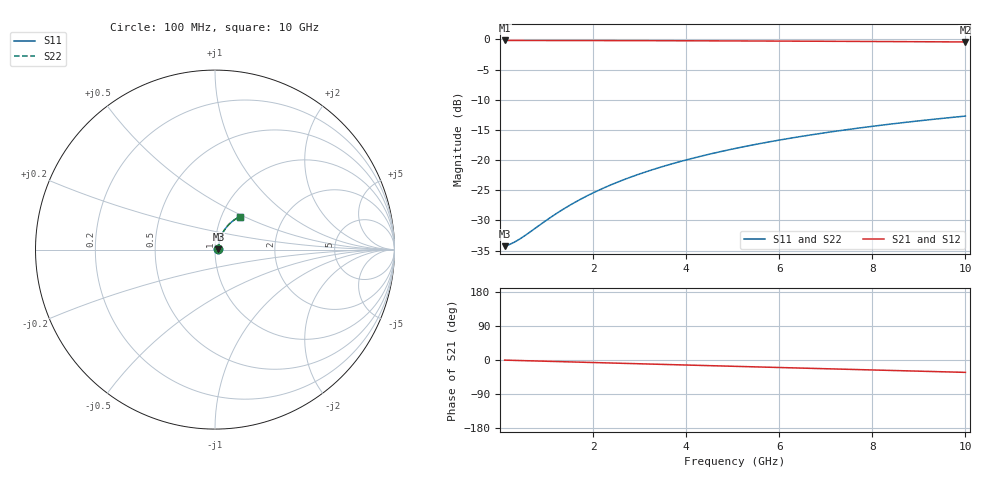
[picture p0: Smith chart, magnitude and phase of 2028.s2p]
# Hz S RI R 50.00
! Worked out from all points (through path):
!   100 points, 100 MHz to 10 GHz, reference 50 ohm
!   highest |S21| = -0.17 dB at 100 MHz (marker M1); lowest = -0.4 dB at 10 GHz (marker M2)
!   group delay of S21, straight-line fit = 9.08 ps
!   lowest |S11| = -34.3 dB at 100 MHz (marker M3), VSWR 1.04, Z = 52 + j0.247 ohm
!   |S11| at or under -10 dB: start of sweep to end of sweep
!   |S22| runs from -34.3 to -12.7 dB; largest |S21 - S12| = 0
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1e8  0.0192 0.00238  0.9808 -0.00569  0.9808 -0.00569  0.0192 0.00238
2e8  0.0193 0.00475  0.9806 -0.0114  0.9806 -0.0114  0.0193 0.00475
3e8  0.0195 0.00712  0.9804 -0.0171  0.9804 -0.0171  0.0195 0.00712
4e8  0.0197 0.00949  0.9802 -0.0228  0.9802 -0.0228  0.0197 0.00949
6e8  0.0201 0.0142  0.9797 -0.0341  0.9797 -0.0341  0.0201 0.0142
1e9  0.0211 0.0236  0.9783 -0.0568  0.9783 -0.0568  0.0211 0.0236
1.2e9  0.0218 0.0283  0.9774 -0.0681  0.9774 -0.0681  0.0218 0.0283
1.5e9  0.023 0.0353  0.9757 -0.0851  0.9757 -0.0851  0.023 0.0353
1.8e9  0.0244 0.0423  0.9737 -0.102  0.9737 -0.102  0.0244 0.0423
2.1e9  0.0261 0.0492  0.9714 -0.1188  0.9714 -0.1188  0.0261 0.0492
2.5e9  0.0287 0.0583  0.9677 -0.1411  0.9677 -0.1411  0.0287 0.0583
2.9e9  0.0317 0.0672  0.9635 -0.1633  0.9635 -0.1633  0.0317 0.0672
3.4e9  0.036 0.0782  0.9574 -0.1909  0.9574 -0.1909  0.036 0.0782
3.8e9  0.0399 0.0867  0.9519 -0.2127  0.9519 -0.2127  0.0399 0.0867
4.2e9  0.0442 0.0951  0.9458 -0.2342  0.9458 -0.2342  0.0442 0.0951
4.6e9  0.0489 0.1032  0.9392 -0.2556  0.9392 -0.2556  0.0489 0.1032
5.1e9  0.0552 0.113  0.9302 -0.282  0.9302 -0.282  0.0552 0.113
5.9e9  0.0664 0.1279  0.914 -0.3232  0.914 -0.3232  0.0664 0.1279
6.7e9  0.0789 0.1416  0.8958 -0.3633  0.8958 -0.3633  0.0789 0.1416
7.5e9  0.0924 0.154  0.8758 -0.4021  0.8758 -0.4021  0.0924 0.154
8.4e9  0.1089 0.1664  0.8512 -0.4441  0.8512 -0.4441  0.1089 0.1664
1e10  0.1406 0.1839  0.8026 -0.514  0.8026 -0.514  0.1406 0.1839
